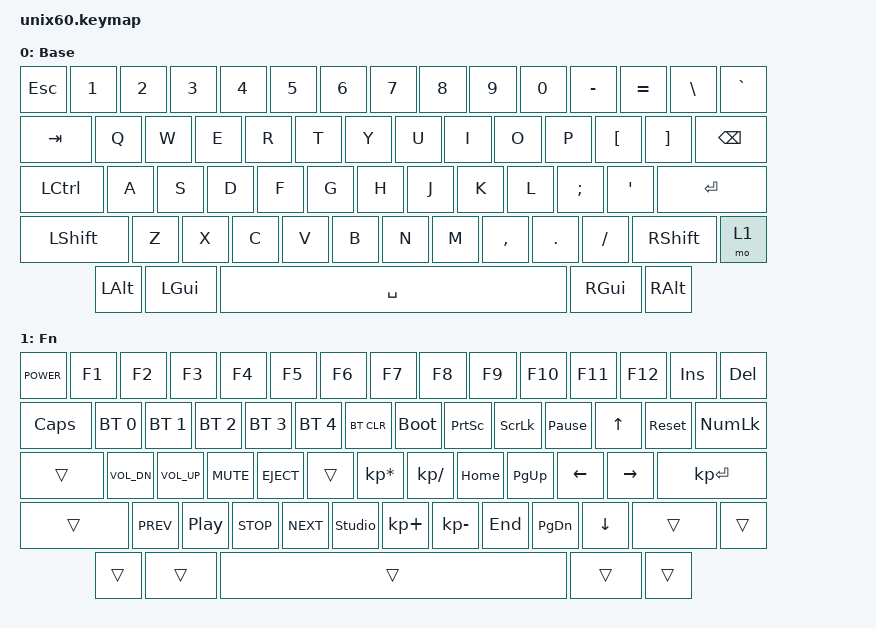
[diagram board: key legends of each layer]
/*
 * Copyright (c) 2026 The ZMK Contributors
 *
 * SPDX-License-Identifier: MIT
 *
 * Ported 1:1 from unix60.json (QMK Configurator export, LAYOUT_60_hhkb).
 * The only additions are the Bluetooth, bootloader, reset and ZMK Studio
 * unlock keys, which occupy slots the export left as KC_TRNS.
 */

#include <behaviors.dtsi>
#include <dt-bindings/zmk/keys.h>
#include <dt-bindings/zmk/bt.h>

/ {
    keymap {
        compatible = "zmk,keymap";

        default_layer {
            display-name = "Base";
// ---------------------------------------------------------------------------------------------
// | ESC |  1  |  2  |  3  |  4  |  5  |  6  |  7  |  8  |  9  |  0  |  -  |  =  |  \  |  `  |
// |  TAB   |  Q  |  W  |  E  |  R  |  T  |  Y  |  U  |  I  |  O  |  P  |  [  |  ]  |  BSPC  |
// |  CTRL    |  A  |  S  |  D  |  F  |  G  |  H  |  J  |  K  |  L  |  ;  |  '  |   ENTER    |
// |   SHIFT     |  Z  |  X  |  C  |  V  |  B  |  N  |  M  |  ,  |  .  |  /  | SHIFT  |  FN  |
// |        | ALT |  GUI   |               SPACE               |   GUI  | ALT |        |
// ---------------------------------------------------------------------------------------------
            bindings = <
&kp ESC   &kp N1 &kp N2 &kp N3 &kp N4 &kp N5 &kp N6 &kp N7 &kp N8 &kp N9 &kp N0 &kp MINUS &kp EQUAL &kp BSLH &kp GRAVE
&kp TAB   &kp Q  &kp W  &kp E  &kp R  &kp T  &kp Y  &kp U  &kp I  &kp O  &kp P  &kp LBKT  &kp RBKT  &kp BSPC
&kp LCTRL &kp A  &kp S  &kp D  &kp F  &kp G  &kp H  &kp J  &kp K  &kp L  &kp SEMI &kp SQT &kp RET
&kp LSHFT &kp Z  &kp X  &kp C  &kp V  &kp B  &kp N  &kp M  &kp COMMA &kp DOT &kp FSLH &kp RSHFT &mo 1
&kp LALT  &kp LGUI &kp SPACE &kp RGUI &kp RALT
            >;
        };

        fn_layer {
            display-name = "Fn";
// ---------------------------------------------------------------------------------------------
// | PWR | F1  | F2  | F3  | F4  | F5  | F6  | F7  | F8  | F9  | F10 | F11 | F12 | INS | DEL |
// |  CAPS  | BT0 | BT1 | BT2 | BT3 | BT4 |BTCLR| BOOT| PSCR| SCRL|PAUSE|  UP |RESET|  NUM   |
// |          | VOLD| VOLU| MUTE| EJCT|     | KP* | KP/ | HOME| PGUP| LEFT|RIGHT|   KPENT    |
// |             |MPREV|MPLAY|MSTOP|MNEXT|STUDO| KP+ | KP- | END | PGDN| DOWN|        |      |
// |        |     |        |                                   |        |     |        |
// ---------------------------------------------------------------------------------------------
            bindings = <
&kp K_POWER &kp F1 &kp F2 &kp F3 &kp F4 &kp F5 &kp F6 &kp F7 &kp F8 &kp F9 &kp F10 &kp F11 &kp F12 &kp INS &kp DEL
&kp CAPS    &bt BT_SEL 0 &bt BT_SEL 1 &bt BT_SEL 2 &bt BT_SEL 3 &bt BT_SEL 4 &bt BT_CLR &bootloader &kp PSCRN &kp SLCK &kp PAUSE_BREAK &kp UP &sys_reset &kp KP_NUM
&trans      &kp C_VOL_DN &kp C_VOL_UP &kp C_MUTE &kp C_EJECT &trans &kp KP_MULTIPLY &kp KP_DIVIDE &kp HOME &kp PG_UP &kp LEFT &kp RIGHT &kp KP_ENTER
&trans      &kp C_PREV &kp C_PP &kp C_STOP &kp C_NEXT &studio_unlock &kp KP_PLUS &kp KP_MINUS &kp END &kp PG_DN &kp DOWN &trans &trans
&trans      &trans &trans &trans &trans
            >;
        };
    };
};
